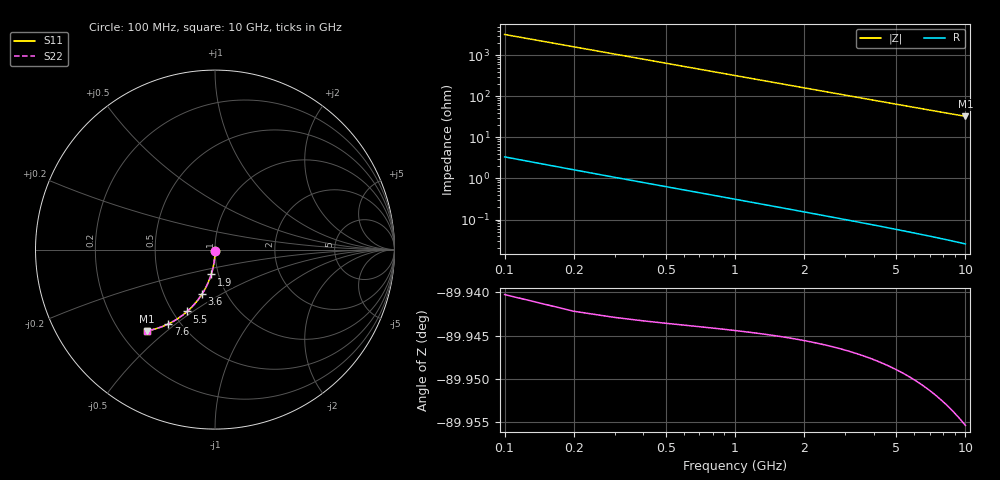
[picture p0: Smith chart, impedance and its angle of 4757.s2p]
# Hz S RI R 50.00
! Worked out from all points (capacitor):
!   100 points, 100 MHz to 10 GHz, reference 50 ohm
!   read as one part in shunt: C = 495 fF near 100 MHz
!   lowest |Z| = 32.6 ohm at 10 GHz (marker M1)
!   S11 on the Smith chart (normalised r, x): 100 MHz: 1.00, -0.01; 1.9 GHz: 0.92, -0.26; 3.6 GHz: 0.77, -0.41; 5.5 GHz: 0.59, -0.47; 7.6 GHz: 0.43, -0.47; 10 GHz: 0.31, -0.43
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1e8  0.000231 -0.00745  0.9996 -0.00809  0.9996 -0.00809  0.000231 -0.00745
2e8  4.41e-05 -0.0149  0.9994 -0.0162  0.9994 -0.0162  4.41e-05 -0.0149
3e8  -0.000263 -0.0223  0.9991 -0.0243  0.9991 -0.0243  -0.000263 -0.0223
4e8  -0.000692 -0.0298  0.9987 -0.0324  0.9987 -0.0324  -0.000692 -0.0298
5e8  -0.00124 -0.0372  0.9981 -0.0404  0.9981 -0.0404  -0.00124 -0.0372
6e8  -0.00191 -0.0446  0.9975 -0.0485  0.9975 -0.0485  -0.00191 -0.0446
8e8  -0.0036 -0.0594  0.9958 -0.0645  0.9958 -0.0645  -0.0036 -0.0594
1.1e9  -0.00702 -0.0814  0.9923 -0.0884  0.9923 -0.0884  -0.00702 -0.0814
1.4e9  -0.0115 -0.1031  0.9878 -0.1121  0.9878 -0.1121  -0.0115 -0.1031
1.8e9  -0.019 -0.1315  0.9803 -0.143  0.9803 -0.143  -0.019 -0.1315
1.9e9  -0.0212 -0.1385  0.9781 -0.1507  0.9781 -0.1507  -0.0212 -0.1385
2.2e9  -0.0282 -0.1591  0.971 -0.1733  0.971 -0.1733  -0.0282 -0.1591
2.6e9  -0.0391 -0.1859  0.9601 -0.2026  0.9601 -0.2026  -0.0391 -0.1859
3.4e9  -0.0652 -0.2363  0.9339 -0.2582  0.9339 -0.2582  -0.0652 -0.2363
3.6e9  -0.0726 -0.2482  0.9265 -0.2713  0.9265 -0.2713  -0.0726 -0.2482
4.3e9  -0.1006 -0.2872  0.8983 -0.3148  0.8983 -0.3148  -0.1006 -0.2872
5.1e9  -0.1362 -0.3267  0.8626 -0.3595  0.8626 -0.3595  -0.1362 -0.3267
5.5e9  -0.1551 -0.3443  0.8437 -0.3798  0.8437 -0.3798  -0.1551 -0.3443
6.7e9  -0.2145 -0.3889  0.7839 -0.4321  0.7839 -0.4321  -0.2145 -0.3889
7.6e9  -0.2604 -0.4143  0.7377 -0.4634  0.7377 -0.4634  -0.2604 -0.4143
8.4e9  -0.3012 -0.4315  0.6966 -0.4859  0.6966 -0.4859  -0.3012 -0.4315
1e10  -0.3803 -0.4528  0.6169 -0.5177  0.6169 -0.5177  -0.3803 -0.4528
